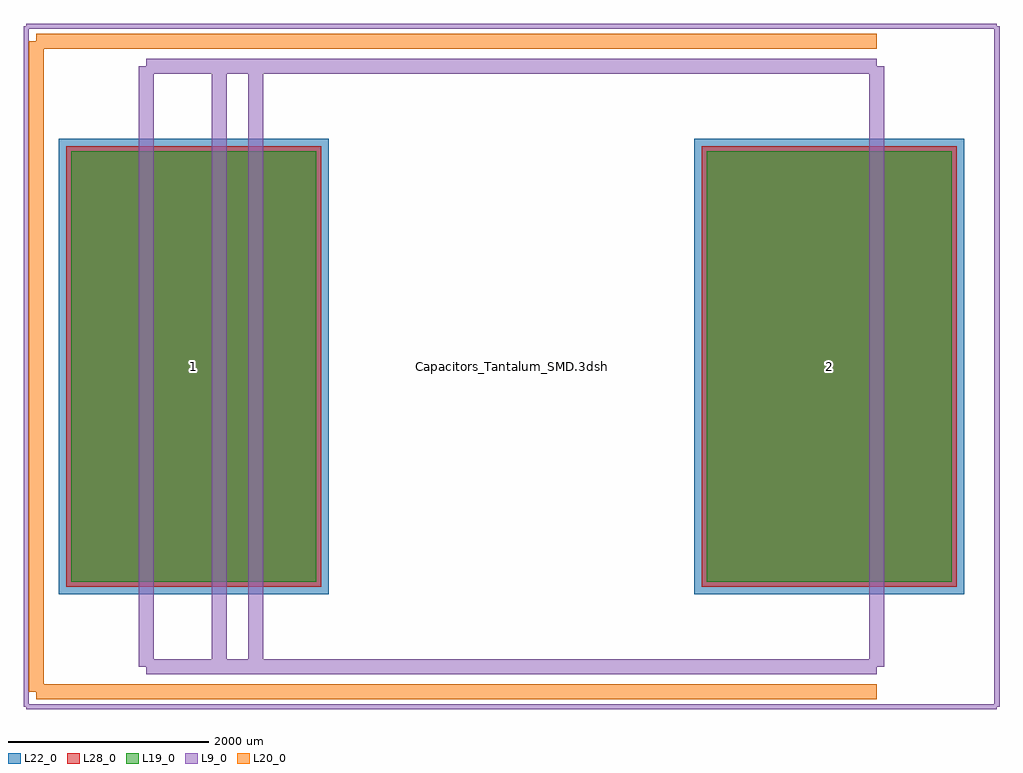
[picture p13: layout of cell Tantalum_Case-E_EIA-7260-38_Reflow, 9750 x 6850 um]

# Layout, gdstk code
import gdstk
lib = gdstk.Library(unit=1e-6, precision=1e-09)
def R(c, l, rs):  # rectangles x0, y0, x1, y1
    for r in rs: c.add(gdstk.rectangle(r[:2], r[2:], *l))
L9_0 = (9, 0)
L19_0 = (19, 0)
L20_0 = (20, 0)
L22_0 = (22, 0)
L28_0 = (28, 0)

tantalum_case_e_eia_7260 = lib.new_cell('Tantalum_Case-E_EIA-7260-38_Reflow')
R(tantalum_case_e_eia_7260, L19_0, [(-4400,-2150,-1950,2150), (1950,-2150,4400,2150)])
R(tantalum_case_e_eia_7260, L22_0, [(-4525,-2275,-1825,2275), (1825,-2275,4525,2275)])
R(tantalum_case_e_eia_7260, L28_0, [(-4450,-2200,-1900,2200), (1900,-2200,4450,2200)])
tantalum_case_e_eia_7260.add(gdstk.FlexPath([(-4750,3250),(-4750,-3250)], 149.998, ends="flush", simple_path=True, layer=20, datatype=0))  # L20_0
tantalum_case_e_eia_7260.add(gdstk.FlexPath([(-4750,-3250),(3650,-3250)], 149.998, ends="flush", simple_path=True, layer=20, datatype=0))  # L20_0
tantalum_case_e_eia_7260.add(gdstk.FlexPath([(-4750,3250),(3650,3250)], 149.998, ends="flush", simple_path=True, layer=20, datatype=0))  # L20_0
tantalum_case_e_eia_7260.add(gdstk.FlexPath([(-2555,3000),(-2555,-3000)], 149.998, ends="flush", simple_path=True, layer=9, datatype=0))  # L9_0
tantalum_case_e_eia_7260.add(gdstk.FlexPath([(-2920,3000),(-2920,-3000)], 149.998, ends="flush", simple_path=True, layer=9, datatype=0))  # L9_0
tantalum_case_e_eia_7260.add(gdstk.FlexPath([(3650,3000),(-3650,3000)], 149.998, ends="flush", simple_path=True, layer=9, datatype=0))  # L9_0
tantalum_case_e_eia_7260.add(gdstk.FlexPath([(3650,-3000),(3650,3000)], 149.998, ends="flush", simple_path=True, layer=9, datatype=0))  # L9_0
tantalum_case_e_eia_7260.add(gdstk.FlexPath([(-3650,-3000),(3650,-3000)], 149.998, ends="flush", simple_path=True, layer=9, datatype=0))  # L9_0
tantalum_case_e_eia_7260.add(gdstk.FlexPath([(-3650,3000),(-3650,-3000)], 149.998, ends="flush", simple_path=True, layer=9, datatype=0))  # L9_0
tantalum_case_e_eia_7260.add(gdstk.FlexPath([(4850,3400),(-4850,3400)], 50, ends="flush", simple_path=True, layer=9, datatype=0))  # L9_0
tantalum_case_e_eia_7260.add(gdstk.FlexPath([(4850,-3400),(4850,3400)], 50, ends="flush", simple_path=True, layer=9, datatype=0))  # L9_0
tantalum_case_e_eia_7260.add(gdstk.FlexPath([(-4850,-3400),(4850,-3400)], 50, ends="flush", simple_path=True, layer=9, datatype=0))  # L9_0
tantalum_case_e_eia_7260.add(gdstk.FlexPath([(-4850,3400),(-4850,-3400)], 50, ends="flush", simple_path=True, layer=9, datatype=0))  # L9_0
tantalum_case_e_eia_7260.add(gdstk.Label('Capacitors_Tantalum_SMD.3dshapes/Tantalum_Case-E_EIA-7260-38.wrl', (0,0), layer=12, texttype=0))
tantalum_case_e_eia_7260.add(gdstk.Label('2', (3175,0), layer=28, texttype=0))
tantalum_case_e_eia_7260.add(gdstk.Label('1', (-3175,0), layer=28, texttype=0))
tantalum_case_e_eia_7260.add(gdstk.Label('type', (0,-4750), layer=9, texttype=0))
tantalum_case_e_eia_7260.add(gdstk.Label('devicename', (0,4750), layer=9, texttype=0))

lib.write_gds('Tantalum_Case-E_EIA-7260-38_Reflow.gds')
